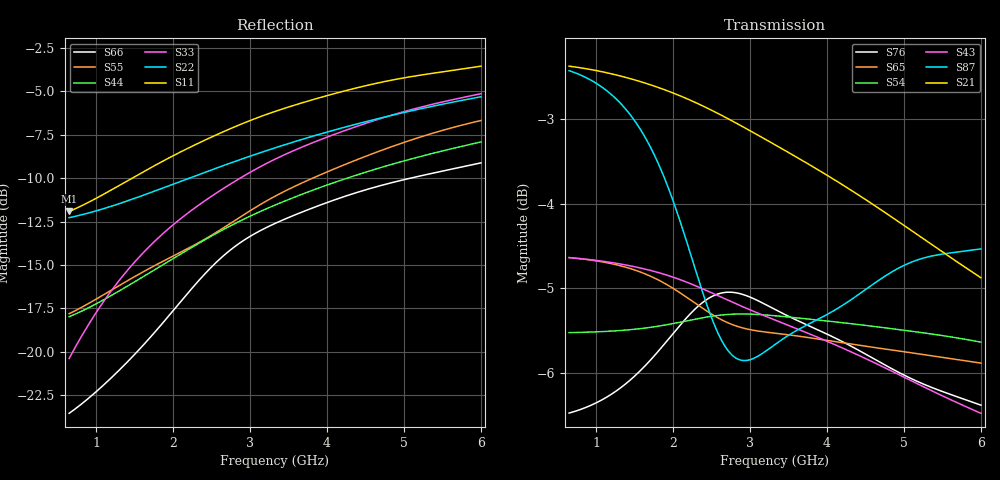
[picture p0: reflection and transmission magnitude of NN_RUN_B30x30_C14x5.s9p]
! IGNION VIRTUAL ANTENNA LIBRARY
! NN_RUN_B30x30_C14x5
! Virtual Antenna™ RUN mXTEND™: NN02-224 12.0 mm x 3.0 mm x 2.4 mm
! https://ignion.io/product/run-mxtend/
! Board: 30 mm x 30 mm
! Clearance Area: 14 mm x 5 mm
! Feeding line: straight line; 5mm x 2mm
! Applications: Wearables
! Frequency range 0.65GHz to 6GHz, step 10MHz
! Number of ports 9
! This product and its use is protected by at least one or more of the following patents and patent
! applications US 8,203,492 B2; US 8,237,615 B2; PCT/EP2013/064692; WO 2014/012842 A1; US 2019/190122 A1;
! US 62/072,671; and other domestic and international patents pending. Additional information about
! patents related to this product is available at https://ignion.io/files/Patent-list-NN.pdf, all
! rights reserved. Copyright, Ignion 2021.
! Need more help? Your platform is much different than these examples in the manual? Use our
! Fast Track service (https://ignion.io/fast-track/), for free, and get a personalized antenna design in
! just 24 hours.
! Touchstone port 1 = "Series Port"
! Touchstone port 2 = "Shunt Port"
! Touchstone port 3 = "Series Port"
! Touchstone port 4 = "Shunt Port"
! Touchstone port 5 = "Series Port"
! Touchstone port 6 = "Shunt Port"
! Touchstone port 7 = "Series Port"
! Touchstone port 8 = "Shunt Port"
! Touchstone port 9 = "Series Port"
! IE3D S-Parameters Output Version 2.0
# GHZ S MA R 50
! Nport = 9
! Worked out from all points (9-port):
!   536 points, 650 MHz to 6 GHz, reference 50 ohm
!   strongest paths, dB at 650 MHz, 1.99 GHz, 3.33 GHz, 4.67 GHz, 6 GHz:
!     S21: -2.4, -2.7, -3.3, -4.1, -4.9
!     S87: -2.4, -3.9, -5.7, -4.9, -4.5
!     S43: -4.6, -4.9, -5.4, -5.9, -6.5
!     S54: -5.5, -5.4, -5.3, -5.5, -5.6
!     S65: -4.6, -5.0, -5.5, -5.7, -5.9
!     S76: -6.5, -5.5, -5.3, -5.9, -6.4
!   lowest |S11| = -11.9 dB at 650 MHz (marker M1), VSWR 1.68, Z = 31.1 + j8.48 ohm
!   |S11| at or under -10 dB: start of sweep to 1.47 GHz
